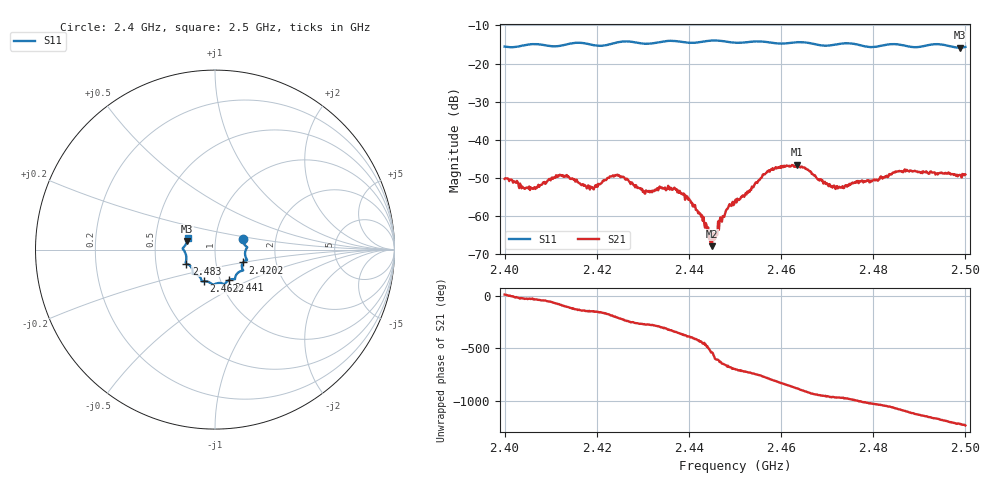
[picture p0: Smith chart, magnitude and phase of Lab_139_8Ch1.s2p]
# Hz S RI R 50
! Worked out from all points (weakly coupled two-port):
!   601 points, 2.4 GHz to 2.5 GHz, reference 50 ohm
!   highest |S21| = -46.48 dB at 2.4635 GHz (marker M1); lowest = -67.9 dB at 2.445 GHz (marker M2)
!   lowest |S11| = -15.8 dB at 2.4988 GHz (marker M3), VSWR 1.39, Z = 36.4 + j3.48 ohm
!   |S11| at or under -10 dB: start of sweep to end of sweep
!   S12 and S22 are empty: the file has one direction only
!   S11 on the Smith chart (normalised r, x): 2.4 GHz: 1.36, +0.17; 2.4202 GHz: 1.35, -0.20; 2.441 GHz: 1.09, -0.39; 2.4622 GHz: 0.83, -0.30; 2.483 GHz: 0.72, -0.12; 2.5 GHz: 0.73, +0.09
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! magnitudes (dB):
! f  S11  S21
! 2.4 GHz  -15.5  -50.2
! 2.4047 GHz  -15.1  -52.5
! 2.412 GHz  -15.3  -49.1
! 2.4167 GHz  -14.6  -51.9
! 2.4202 GHz  -15.3  -52.3
! 2.4243 GHz  -14.5  -49.2
! 2.4305 GHz  -14.8  -54.1
! 2.4333 GHz  -14.4  -53.2
! 2.4372 GHz  -14.1  -53.1
! 2.441 GHz  -14.6  -57.0
! 2.445 GHz  -13.9  -67.9
! 2.4485 GHz  -14.3  -57.8
! 2.45 GHz  -14.5  -56.0
! 2.4573 GHz  -14.4  -48.0
! 2.4622 GHz  -14.5  -46.9
! 2.4635 GHz  -14.4  -46.5
! 2.4667 GHz  -14.7  -48.9
! 2.4723 GHz  -14.9  -52.7
! 2.483 GHz  -15.0  -49.4
! 2.4833 GHz  -15.0  -49.5
! 2.4988 GHz  -15.8  -49.2
! 2.5 GHz  -15.6  -49.1
